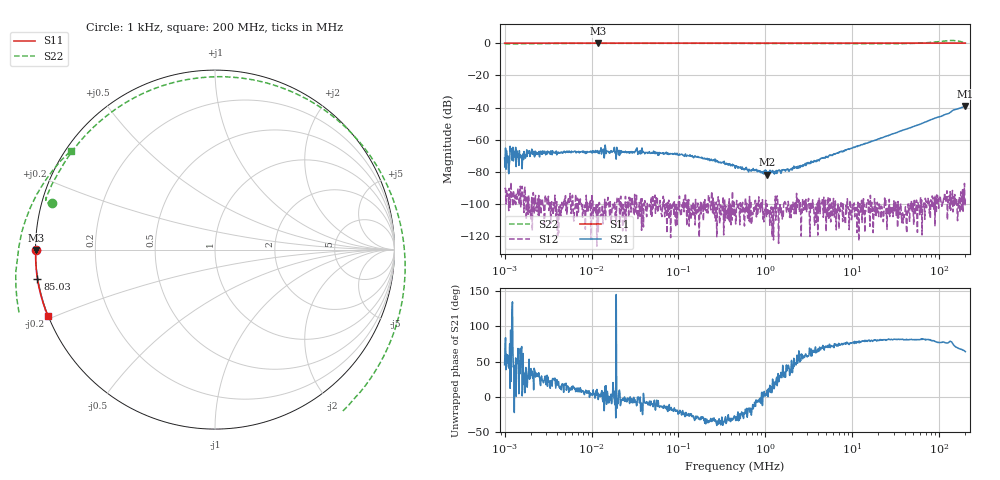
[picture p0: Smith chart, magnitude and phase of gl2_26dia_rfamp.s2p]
! ListType=Log
# MHZ S RI R 50
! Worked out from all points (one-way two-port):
!   1000 points, 1 kHz to 200 MHz, reference 50 ohm
!   highest |S21| = -39.03 dB at 200 MHz (marker M1); lowest = -81.6 dB at 1.045 MHz (marker M2)
!   lowest |S11| = 0.0 dB at 11.95 kHz (marker M3), VSWR 392.62, Z = 0.127 - j0.044 ohm
!   |S11| at or under -10 dB: nowhere
!   |S22| runs from -0.5 to 1.7 dB; largest |S21 - S12| = 0.011
!   S11 on the Smith chart (normalised r, x): 1 kHz: 0.00, -0.00; 85.03 MHz: -0.00, -0.08; 200 MHz: -0.00, -0.19
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0.001  -0.9986 -0.000102  0.000194 0.000196  -1.15e-05 -2.99e-05  -0.9089 0.26
0.0010761  -0.9976 4.69e-05  0.000101 0.00017  -1.49e-05 9.5e-06  -0.9107 0.2588
0.0012309  -0.9978 0.000256  -0.000172 0.000171  9.4e-06 1.09e-05  -0.9137 0.2578
0.0014966  -0.9986 -0.000214  0.000233 0.000147  2e-07 -2.87e-05  -0.9186 0.2574
0.0019822  -0.9982 -0.000402  0.000359 0.000179  6.1e-06 7e-07  -0.9257 0.2581
0.0076941  -0.9985 -8.96e-05  0.000425 6.58e-05  -2.1e-06 8.4e-06  -0.9422 0.2759
0.011945  -0.9949 -0.00175  0.00044 -3.35e-05  -1.2e-06 6e-07  -0.9435 0.2782
0.0584804  -0.9983 -0.000228  0.000385 -3.98e-05  1.1e-06 -7.5e-06  -0.9406 0.2882
0.4499541  -0.9987 -0.00113  0.000112 -6.76e-05  1.8e-06 7.1e-06  -0.9349 0.303
1.045455  -0.9988 -0.00232  8.23e-05 1.25e-05  8e-07 -1.01e-05  -0.9261 0.3233
3.419952  -0.9991 -0.00728  0.000113 0.000181  -1.8e-06 -7.2e-06  -0.8867 0.4028
12.03851  -0.9995 -0.0246  0.000151 0.000641  -7.5e-06 -3e-07  -0.7122 0.6466
26.31347  -0.9992 -0.0524  0.000196 0.00137  3.6e-06 -3.5e-06  -0.3118 0.9064
52.15945  -0.9966 -0.1024  0.000414 0.00263  7e-07 -1.11e-05  0.5302 0.8281
66.59778  -0.9939 -0.1299  0.00049 0.0034  -1.1e-05 4e-07  0.8882 0.4876
85.03279  -0.9892 -0.1648  0.000788 0.00439  2.2e-06 -8.1e-06  1.059 -0.1319
107.2524  -0.9823 -0.2059  0.00121 0.00533  -1.6e-06 -8.5e-06  0.7458 -0.8653
135.278  -0.9697 -0.2571  0.00144 0.00717  -3.1e-06 -5.7e-06  -0.2103 -1.185
149.1688  -0.9627 -0.2819  0.00254 0.00812  1.5e-06 -9.1e-06  -0.6843 -0.9897
166.5079  -0.9527 -0.3122  0.00333 0.00861  -7e-06 -1.02e-05  -1.054 -0.491
179.1732  -0.9457 -0.3372  0.0038 0.0092  -1.87e-05 -8.8e-06  -1.102 -0.0581
200  -0.9318 -0.3688  0.00487 0.0101  -1.29e-05 -6.6e-06  -0.8026 0.5506
